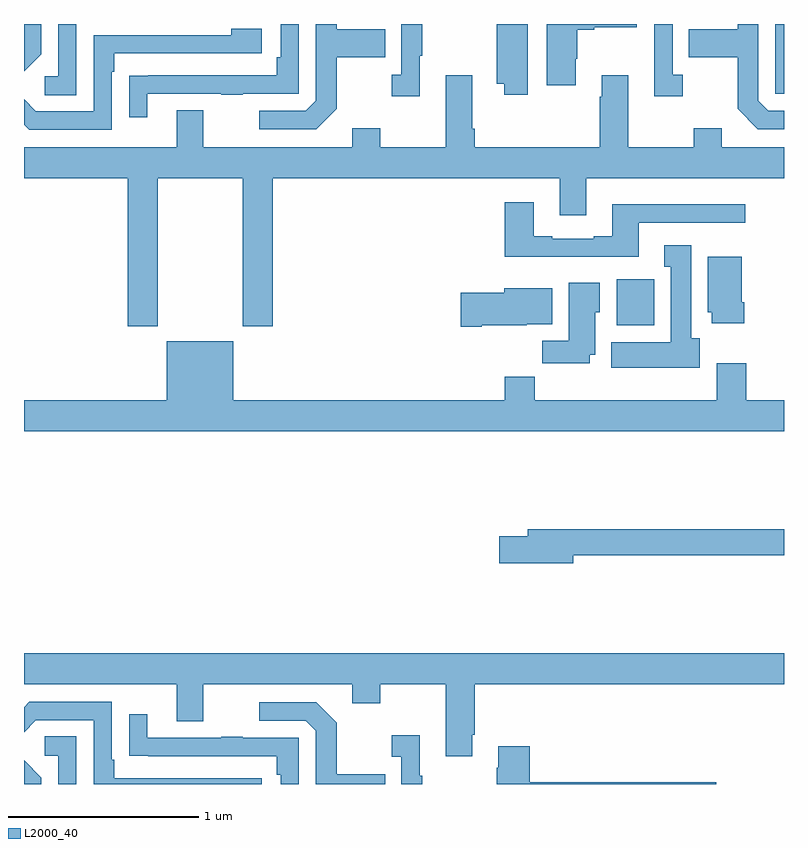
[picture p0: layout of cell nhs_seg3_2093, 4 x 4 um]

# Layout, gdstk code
import gdstk
lib = gdstk.Library(unit=1e-6, precision=1e-09)
def R(c, l, rs):  # rectangles x0, y0, x1, y1
    for r in rs: c.add(gdstk.rectangle(r[:2], r[2:], *l))
def P(c, l, *ps):  # polygons
    for p in ps: c.add(gdstk.Polygon(p, *l))
L2000_40 = (2000, 40)

nhs_seg3_2093 = lib.new_cell('nhs_seg3_2093')
R(nhs_seg3_2093, L2000_40, [(222.119,694.814,222.316,695.056), (222.954,696.033,223,696.4)])
P(nhs_seg3_2093, L2000_40, [(220.645,695.953),(220.645,696.226),(220.901,696.226),(220.901,696.373),(220.645,696.373),(220.645,696.4),(220.536,696.4),(220.536,695.997),(220.482,695.943),(220.239,695.943),(220.239,695.847),(220.539,695.847)],
  [(219.649,696.033),(220.039,696.033),(220.039,696.028),(220.151,696.028),(220.151,696.033),(220.446,696.033),(220.446,696.4),(220.35,696.4),(220.35,696.226),(220.33,696.226),(220.33,696.129),(219.655,696.129),(219.655,696.128),(219.553,696.128),(219.553,695.91),(219.649,695.91)],
  [(223,695.943),(222.918,695.943),(222.864,695.997),(222.864,696.4),(222.756,696.4),(222.756,696.373),(222.499,696.373),(222.499,696.226),(222.756,696.226),(222.756,695.953),(222.861,695.847),(223,695.847)],
  [(221.083,696.233),(221.095,696.233),(221.095,696.4),(220.986,696.4),(220.986,696.134),(220.935,696.134),(220.935,696.021),(221.083,696.021)],
  [(221.905,696.217),(221.913,696.217),(221.913,696.371),(222.001,696.371),(222.001,696.383),(222.226,696.383),(222.226,696.4),(221.75,696.4),(221.75,696.078),(221.905,696.078)],
  [(222.466,696.134),(222.414,696.134),(222.414,696.4),(222.318,696.4),(222.318,696.287),(222.317,696.287),(222.317,696.021),(222.466,696.021)],
  [(221.65,696.4),(221.488,696.4),(221.488,696.086),(221.528,696.086),(221.528,696.027),(221.65,696.027)],
  [(219.276,696.4),(219.18,696.4),(219.18,696.126),(219.108,696.126),(219.108,696.025),(219.276,696.025)],
  [(219.09,696.242),(219.09,696.4),(219,696.4),(219,696.152)],
  [(219.462,696.149),(219.475,696.149),(219.475,696.246),(220.252,696.246),(220.252,696.376),(220.091,696.376),(220.091,696.342),(219.366,696.342),(219.366,695.94),(219.063,695.94),(219,696.003),(219,695.871),(219.027,695.844),(219.462,695.844)],
  [(219.705,695.588),(220.15,695.588),(220.15,694.809),(220.31,694.809),(220.31,695.588),(221.819,695.588),(221.819,695.394),(221.959,695.394),(221.959,695.588),(223,695.588),(223,695.752),(222.673,695.752),(222.673,695.851),(222.526,695.851),(222.526,695.752),(222.181,695.752),(222.181,696.13),(222.041,696.13),(222.041,696.017),(222.029,696.017),(222.029,695.752),(221.372,695.752),(221.372,695.848),(221.359,695.848),(221.359,696.13),(221.219,696.13),(221.219,695.752),(220.875,695.752),(220.875,695.851),(220.727,695.851),(220.727,695.752),(219.943,695.752),(219.943,695.947),(219.803,695.947),(219.803,695.752),(219,695.752),(219,695.588),(219.545,695.588),(219.545,694.809),(219.705,694.809)],
  [(222.235,695.355),(222.796,695.355),(222.796,695.452),(222.095,695.452),(222.095,695.284),(221.999,695.284),(221.999,695.271),(221.779,695.271),(221.779,695.284),(221.683,695.284),(221.683,695.461),(221.531,695.461),(221.531,695.174),(222.235,695.174)],
  [(222.556,694.746),(222.511,694.746),(222.511,695.236),(222.371,695.236),(222.371,695.123),(222.404,695.123),(222.404,694.726),(222.092,694.726),(222.092,694.592),(222.556,694.592)],
  [(222.791,694.936),(222.778,694.936),(222.778,695.176),(222.599,695.176),(222.599,694.884),(222.62,694.884),(222.62,694.824),(222.791,694.824)],
  [(221.977,694.658),(222.007,694.658),(222.007,694.884),(222.031,694.884),(222.031,695.038),(221.867,695.038),(221.867,694.732),(221.728,694.732),(221.728,694.614),(221.977,694.614)],
  [(221.41,694.814),(221.646,694.814),(221.646,694.82),(221.779,694.82),(221.779,695.008),(221.528,695.008),(221.528,694.985),(221.298,694.985),(221.298,694.807),(221.41,694.807)],
  [(223,694.42),(222.8,694.42),(222.8,694.615),(222.647,694.615),(222.647,694.42),(221.687,694.42),(221.687,694.544),(221.531,694.544),(221.531,694.42),(220.102,694.42),(220.102,694.729),(219.752,694.729),(219.752,694.42),(219,694.42),(219,694.256),(223,694.256)],
  [(221.89,693.604),(223,693.604),(223,693.74),(221.651,693.74),(221.651,693.704),(221.502,693.704),(221.502,693.562),(221.89,693.562)],
  [(221.359,692.659),(221.372,692.659),(221.372,692.924),(223,692.924),(223,693.088),(219,693.088),(219,692.924),(219.803,692.924),(219.803,692.73),(219.943,692.73),(219.943,692.924),(220.727,692.924),(220.727,692.825),(220.875,692.825),(220.875,692.924),(221.219,692.924),(221.219,692.547),(221.359,692.547)],
  [(220.252,692.43),(219.475,692.43),(219.475,692.527),(219.462,692.527),(219.462,692.832),(219.027,692.832),(219,692.805),(219,692.673),(219.063,692.736),(219.366,692.736),(219.366,692.4),(220.252,692.4)],
  [(220.901,692.451),(220.645,692.451),(220.645,692.723),(220.539,692.829),(220.239,692.829),(220.239,692.733),(220.482,692.733),(220.536,692.679),(220.536,692.4),(220.901,692.4)],
  [(220.446,692.643),(220.151,692.643),(220.151,692.648),(220.039,692.648),(220.039,692.643),(219.649,692.643),(219.649,692.767),(219.553,692.767),(219.553,692.548),(219.655,692.548),(219.655,692.547),(220.33,692.547),(220.33,692.45),(220.35,692.45),(220.35,692.4),(220.446,692.4)],
  [(221.095,692.443),(221.083,692.443),(221.083,692.656),(220.935,692.656),(220.935,692.543),(220.986,692.543),(220.986,692.4),(221.095,692.4)],
  [(219.276,692.651),(219.108,692.651),(219.108,692.55),(219.18,692.55),(219.18,692.4),(219.276,692.4)],
  [(222.644,692.408),(221.663,692.408),(221.663,692.599),(221.495,692.599),(221.495,692.486),(221.488,692.486),(221.488,692.4),(222.644,692.4)],
  [(219.09,692.434),(219,692.524),(219,692.4),(219.09,692.4)])

lib.write_gds('nhs_seg3_2093.gds')
